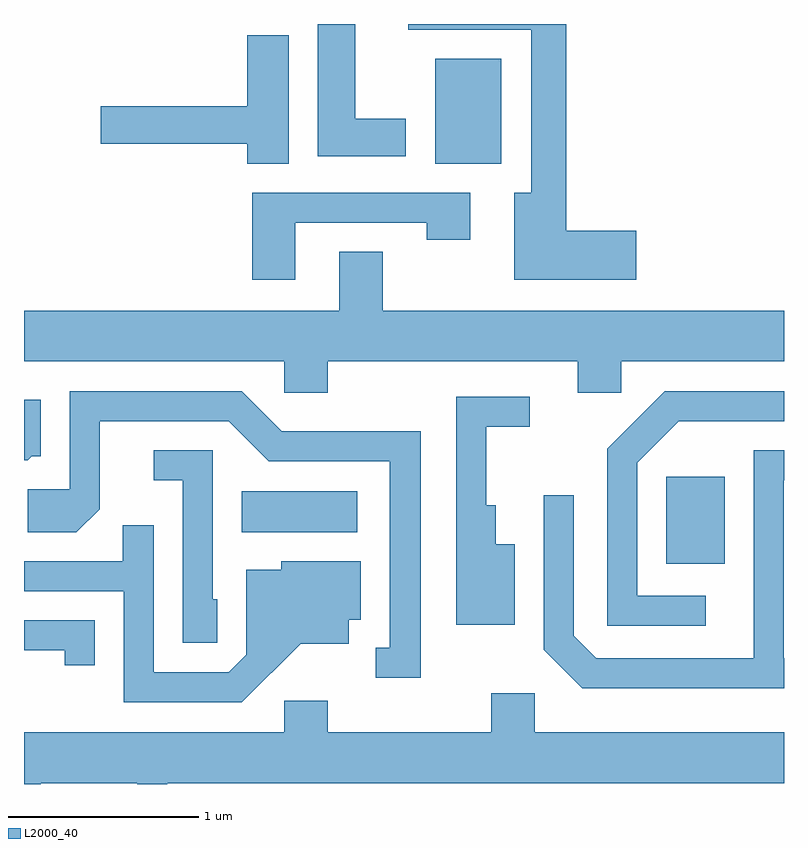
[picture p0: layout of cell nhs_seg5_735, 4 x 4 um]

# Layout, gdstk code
import gdstk
lib = gdstk.Library(unit=1e-6, precision=1e-09)
def R(c, l, rs):  # rectangles x0, y0, x1, y1
    for r in rs: c.add(gdstk.rectangle(r[:2], r[2:], *l))
def P(c, l, *ps):  # polygons
    for p in ps: c.add(gdstk.Polygon(p, *l))
L2000_40 = (2000, 40)

nhs_seg5_735 = lib.new_cell('nhs_seg5_735')
R(nhs_seg5_735, L2000_40, [(208.991,1511.231,209.299,1511.689), (206.756,1511.396,207.364,1511.614), (207.776,1513.336,208.124,1513.889)])
P(nhs_seg5_735, L2000_40, [(208.834,1512.984),(208.464,1512.984),(208.464,1514.072),(207.633,1514.072),(207.633,1514.041),(208.281,1514.041),(208.281,1513.184),(208.191,1513.184),(208.191,1512.726),(208.834,1512.726)],
  [(207.619,1513.574),(207.354,1513.574),(207.354,1514.072),(207.156,1514.072),(207.156,1513.376),(207.619,1513.376)],
  [(207.004,1514.014),(206.786,1514.014),(206.786,1513.639),(206.016,1513.639),(206.016,1513.441),(206.786,1513.441),(206.786,1513.336),(207.004,1513.336)],
  [(207.039,1513.026),(207.731,1513.026),(207.731,1512.936),(207.959,1512.936),(207.959,1513.184),(206.811,1513.184),(206.811,1512.726),(207.039,1512.726)],
  [(207.209,1512.296),(208.526,1512.296),(208.526,1512.131),(208.754,1512.131),(208.754,1512.296),(209.611,1512.296),(209.611,1512.564),(207.499,1512.564),(207.499,1512.874),(207.271,1512.874),(207.271,1512.564),(205.611,1512.564),(205.611,1512.296),(206.981,1512.296),(206.981,1512.131),(207.209,1512.131)],
  [(207.699,1511.929),(206.967,1511.929),(206.757,1512.139),(205.851,1512.139),(205.851,1511.624),(205.631,1511.624),(205.631,1511.396),(205.887,1511.396),(206.009,1511.519),(206.009,1511.981),(206.689,1511.981),(206.899,1511.771),(207.536,1511.771),(207.536,1510.789),(207.463,1510.789),(207.463,1510.631),(207.699,1510.631)],
  [(209.198,1511.064),(208.839,1511.064),(208.839,1511.764),(209.057,1511.981),(209.611,1511.981),(209.611,1512.139),(208.984,1512.139),(208.681,1511.837),(208.681,1510.906),(209.198,1510.906)],
  [(208.194,1511.334),(208.094,1511.334),(208.094,1511.539),(208.044,1511.539),(208.044,1511.951),(208.273,1511.951),(208.273,1512.109),(207.886,1512.109),(207.886,1510.911),(208.194,1510.911)],
  [(205.652,1511.796),(205.699,1511.796),(205.699,1512.094),(205.611,1512.094),(205.611,1511.776),(205.632,1511.776)],
  [(206.629,1511.044),(206.604,1511.044),(206.604,1511.829),(206.293,1511.829),(206.293,1511.671),(206.446,1511.671),(206.446,1510.816),(206.629,1510.816)],
  [(209.611,1510.734),(209.609,1510.734),(209.609,1511.671),(209.611,1511.671),(209.611,1511.829),(209.451,1511.829),(209.451,1510.734),(208.622,1510.734),(208.504,1510.852),(208.504,1511.593),(208.346,1511.593),(208.346,1510.779),(208.549,1510.576),(209.611,1510.576)],
  [(207.067,1510.811),(207.319,1510.811),(207.319,1510.936),(207.384,1510.936),(207.384,1511.244),(206.966,1511.244),(206.966,1511.199),(206.781,1511.199),(206.781,1510.752),(206.689,1510.659),(206.294,1510.659),(206.294,1511.433),(206.131,1511.433),(206.131,1511.244),(205.611,1511.244),(205.611,1511.086),(206.136,1511.086),(206.136,1510.501),(206.757,1510.501)],
  [(205.984,1510.934),(205.611,1510.934),(205.611,1510.776),(205.826,1510.776),(205.826,1510.698),(205.984,1510.698)],
  [(205.699,1510.076),(206.206,1510.076),(206.206,1510.072),(206.364,1510.072),(206.364,1510.076),(209.611,1510.076),(209.611,1510.344),(208.299,1510.344),(208.299,1510.549),(208.071,1510.549),(208.071,1510.344),(207.209,1510.344),(207.209,1510.509),(206.981,1510.509),(206.981,1510.344),(205.611,1510.344),(205.611,1510.072),(205.699,1510.072)])

lib.write_gds('nhs_seg5_735.gds')
